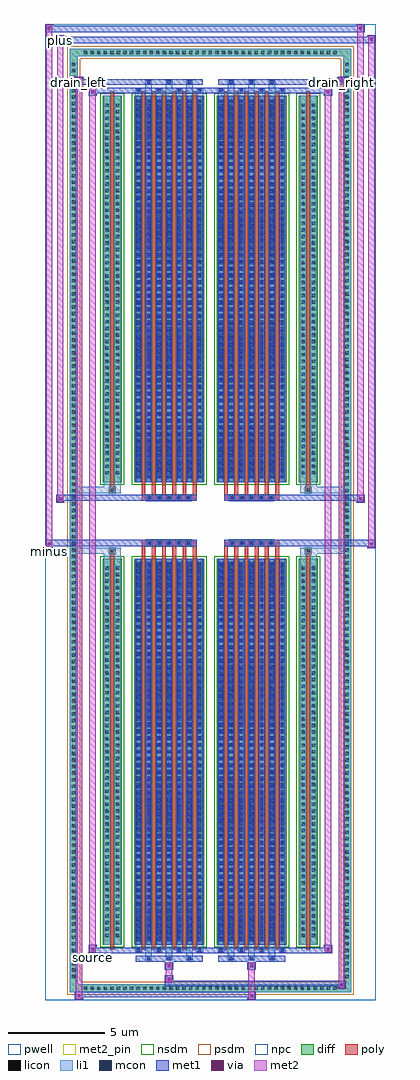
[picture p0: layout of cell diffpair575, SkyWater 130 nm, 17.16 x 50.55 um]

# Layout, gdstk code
import gdstk
lib = gdstk.Library(unit=1e-6, precision=5e-09)
def R(c, l, rs):  # rectangles x0, y0, x1, y1
    for r in rs: c.add(gdstk.rectangle(r[:2], r[2:], *l))
def A(c, l, x, y, w, h, nx, ny, dx, dy):  # array of equal rectangles
    R(c, l, [(x+i*dx, y+j*dy, x+i*dx+w, y+j*dy+h) for i in range(nx) for j in range(ny)])
def P(c, l, *ps):  # polygons
    for p in ps: c.add(gdstk.Polygon(p, *l))
pwell = (64, 44)
diff = (65, 20)
poly = (66, 20)
licon = (66, 44)
li1 = (67, 20)
mcon = (67, 44)
met1 = (68, 20)
via = (68, 44)
met2_pin = (69, 16)
met2 = (69, 20)
nsdm = (93, 44)
psdm = (94, 20)
npc = (95, 20)

diffpair575 = lib.new_cell('diffpair575')
R(diffpair575, pwell, [(-8.56,-24.84,8.56,25.71), (-5.88,-23.03,-0.01,-0.805), (0.01,-23.03,5.88,-0.805), (-5.88,0.805,-0.01,23.03), (0.01,0.805,5.88,23.03)])
A(diffpair575, diff, -6.665, -24.44, 0.41, 0.41, 39, 2, 0.34, 48.47)
A(diffpair575, diff, -7.29, -23.835, 0.41, 0.41, 1, 140, 0, 0.34)
A(diffpair575, diff, 6.88, -23.835, 0.41, 0.41, 1, 140, 0, 0.34)
R(diffpair575, diff, [(-6.665,-24.44,6.665,-24.03), (-7.29,-23.835,-6.88,23.835), (6.88,-23.835,7.29,23.835), (-5.57,-21.985,-4.59,-1.985), (-3.95,-21.985,-0.32,-1.985), (0.32,-21.985,3.95,-1.985), (4.59,-21.985,5.57,-1.985), (-5.57,1.985,-4.59,21.985), (-3.95,1.985,-0.32,21.985), (0.32,1.985,3.95,21.985), (4.59,1.985,5.57,21.985), (-6.665,24.03,6.665,24.44)])
P(diffpair575, diff, [(7.29,24.44),(-7.29,24.44),(-7.29,-24.03),(-6.88,-24.03),(-6.88,24.03),(6.88,24.03),(6.88,-24.03),(-6.88,-24.03),(-7.29,-24.03),(-7.29,-24.44),(7.29,-24.44)])
A(diffpair575, poly, -3.56, -22.235, 0.2, 20.5, 6, 2, 0.53, 23.97)
A(diffpair575, poly, 0.71, -22.235, 0.2, 20.5, 6, 2, 0.53, 23.97)
A(diffpair575, poly, -3.56, -1.735, 0.2, 0.4, 6, 2, 0.53, 3.07)
A(diffpair575, poly, 0.71, -1.735, 0.2, 0.4, 6, 2, 0.53, 3.07)
A(diffpair575, poly, -3.3, -1.335, 0.33, 0.33, 5, 2, 0.5, 2.34)
A(diffpair575, poly, 0.97, -1.335, 0.33, 0.33, 5, 2, 0.5, 2.34)
R(diffpair575, poly, [(-5.18,-22.235,-4.98,-1.735), (4.98,-22.235,5.18,-1.735), (-5.245,-1.735,-4.915,-1.405), (-5.245,-1.735,-4.915,-1.405), (4.915,-1.735,5.245,-1.405), (4.915,-1.735,5.245,-1.405), (-3.56,-1.335,-0.71,-1.005), (0.71,-1.335,3.56,-1.005), (-3.56,1.005,-0.71,1.335), (0.71,1.005,3.56,1.335), (-5.245,1.405,-4.915,1.735), (-5.245,1.405,-4.915,1.735), (4.915,1.405,5.245,1.735), (4.915,1.405,5.245,1.735), (-5.18,1.735,-4.98,22.235), (4.98,1.735,5.18,22.235)])
A(diffpair575, licon, -6.545, -24.32, 0.17, 0.17, 39, 2, 0.34, 48.47)
A(diffpair575, licon, -7.17, -23.715, 0.17, 0.17, 1, 140, 0, 0.34)
A(diffpair575, licon, 7, -23.715, 0.17, 0.17, 1, 140, 0, 0.34)
A(diffpair575, licon, -5.43, -21.59, 0.17, 0.17, 1, 57, 0, 0.34)
A(diffpair575, licon, -4.9, -21.59, 0.17, 0.17, 1, 57, 0, 0.34)
A(diffpair575, licon, -3.81, -21.59, 0.17, 0.17, 7, 57, 0.53, 0.34)
A(diffpair575, licon, 0.46, -21.59, 0.17, 0.17, 7, 57, 0.53, 0.34)
A(diffpair575, licon, 4.73, -21.59, 0.17, 0.17, 1, 57, 0, 0.34)
A(diffpair575, licon, 5.26, -21.59, 0.17, 0.17, 1, 57, 0, 0.34)
A(diffpair575, licon, -3.22, -1.255, 0.17, 0.17, 5, 2, 0.5, 2.34)
A(diffpair575, licon, 1.05, -1.255, 0.17, 0.17, 5, 2, 0.5, 2.34)
A(diffpair575, licon, -5.43, 2.38, 0.17, 0.17, 1, 57, 0, 0.34)
A(diffpair575, licon, -4.9, 2.38, 0.17, 0.17, 1, 57, 0, 0.34)
A(diffpair575, licon, -3.81, 2.38, 0.17, 0.17, 7, 57, 0.53, 0.34)
A(diffpair575, licon, 0.46, 2.38, 0.17, 0.17, 7, 57, 0.53, 0.34)
A(diffpair575, licon, 4.73, 2.38, 0.17, 0.17, 1, 57, 0, 0.34)
A(diffpair575, licon, 5.26, 2.38, 0.17, 0.17, 1, 57, 0, 0.34)
R(diffpair575, licon, [(-5.165,-1.655,-4.995,-1.485), (4.995,-1.655,5.165,-1.485), (-5.165,1.485,-4.995,1.655), (4.995,1.485,5.165,1.655)])
A(diffpair575, li1, -6.625, -24.4, 0.33, 0.33, 39, 2, 0.34, 48.47)
A(diffpair575, li1, -7.25, -23.795, 0.33, 0.33, 1, 140, 0, 0.34)
A(diffpair575, li1, 6.92, -23.795, 0.33, 0.33, 1, 140, 0, 0.34)
A(diffpair575, li1, -3.36, -22.79, 0.33, 0.805, 3, 2, 1.06, 44.775)
A(diffpair575, li1, -3.28, -22.79, 0.17, 0.17, 3, 2, 1.06, 45.41)
A(diffpair575, li1, 0.91, -22.79, 0.33, 0.805, 3, 2, 1.06, 44.775)
A(diffpair575, li1, 0.99, -22.79, 0.17, 0.17, 3, 2, 1.06, 45.41)
A(diffpair575, li1, -3.89, -22.36, 0.33, 0.375, 4, 2, 1.06, 44.345)
A(diffpair575, li1, -3.81, -22.36, 0.17, 0.17, 4, 2, 1.06, 44.55)
A(diffpair575, li1, 0.38, -22.36, 0.33, 0.375, 4, 2, 1.06, 44.345)
A(diffpair575, li1, 0.46, -22.36, 0.17, 0.17, 4, 2, 1.06, 44.55)
A(diffpair575, li1, -3.89, -21.985, 0.33, 20, 7, 2, 0.53, 23.97)
A(diffpair575, li1, 0.38, -21.985, 0.33, 20, 7, 2, 0.53, 23.97)
A(diffpair575, li1, -3.81, -21.79, 0.17, 0.17, 7, 55, 0.53, 0.36)
A(diffpair575, li1, -3.81, -21.79, 0.17, 19.61, 7, 2, 0.53, 23.97)
A(diffpair575, li1, 0.46, -21.79, 0.17, 0.17, 7, 55, 0.53, 0.36)
A(diffpair575, li1, 0.46, -21.79, 0.17, 19.61, 7, 2, 0.53, 23.97)
A(diffpair575, li1, -5.51, -21.67, 0.33, 0.33, 1, 57, 0, 0.34)
A(diffpair575, li1, -4.98, -21.67, 0.33, 0.33, 1, 57, 0, 0.34)
A(diffpair575, li1, -3.89, -21.67, 0.33, 0.33, 7, 57, 0.53, 0.34)
A(diffpair575, li1, 0.38, -21.67, 0.33, 0.33, 7, 57, 0.53, 0.34)
A(diffpair575, li1, 4.65, -21.67, 0.33, 0.33, 1, 57, 0, 0.34)
A(diffpair575, li1, 5.18, -21.67, 0.33, 0.33, 1, 57, 0, 0.34)
A(diffpair575, li1, -3.3, -1.335, 0.33, 0.33, 5, 2, 0.5, 2.34)
A(diffpair575, li1, 0.97, -1.335, 0.33, 0.33, 5, 2, 0.5, 2.34)
A(diffpair575, li1, -3.81, 2.18, 0.17, 0.17, 7, 55, 0.53, 0.36)
A(diffpair575, li1, 0.46, 2.18, 0.17, 0.17, 7, 55, 0.53, 0.36)
A(diffpair575, li1, -5.51, 2.3, 0.33, 0.33, 1, 57, 0, 0.34)
A(diffpair575, li1, -4.98, 2.3, 0.33, 0.33, 1, 57, 0, 0.34)
A(diffpair575, li1, -3.89, 2.3, 0.33, 0.33, 7, 57, 0.53, 0.34)
A(diffpair575, li1, 0.38, 2.3, 0.33, 0.33, 7, 57, 0.53, 0.34)
A(diffpair575, li1, 4.65, 2.3, 0.33, 0.33, 1, 57, 0, 0.34)
A(diffpair575, li1, 5.18, 2.3, 0.33, 0.33, 1, 57, 0, 0.34)
R(diffpair575, li1, [(-7.29,-24.44,-6.88,-24.03), (-7.29,-24.44,-6.88,-24.03), (-6.88,-24.44,6.88,-24.03), (6.88,-24.44,7.29,-24.03), (6.88,-24.44,7.29,-24.03), (-7.29,-24.03,-6.88,24.03), (6.88,-24.03,7.29,24.03), (-5.51,-21.985,-5.18,-1.985), (-4.98,-21.985,-4.65,-1.985), (4.65,-21.985,4.98,-1.985), (5.18,-21.985,5.51,-1.985), (-5.51,-1.985,-5.18,-1.405), (-4.98,-1.985,-4.65,-1.405), (4.65,-1.985,4.98,-1.405), (5.18,-1.985,5.51,-1.405), (-7.29,-1.735,-5.245,-1.405), (-5.51,-1.735,-5.245,-1.405), (-5.245,-1.735,-4.915,-1.405), (-4.915,-1.735,-4.65,-1.405), (4.65,-1.735,4.915,-1.405), (4.915,-1.735,5.245,-1.405), (4.915,-1.735,7.29,-1.405), (5.245,-1.735,5.51,-1.405), (-7.29,1.405,-5.245,1.735), (-5.51,1.405,-5.245,1.735), (-5.51,1.405,-5.18,1.985), (-5.245,1.405,-4.915,1.735), (-4.98,1.405,-4.65,1.985), (-4.915,1.405,-4.65,1.735), (4.65,1.405,4.915,1.735), (4.65,1.405,4.98,1.985), (4.915,1.405,5.245,1.735), (4.915,1.405,7.29,1.735), (5.18,1.405,5.51,1.985), (5.245,1.405,5.51,1.735), (-5.51,1.985,-5.18,21.985), (-4.98,1.985,-4.65,21.985), (4.65,1.985,4.98,21.985), (5.18,1.985,5.51,21.985), (-7.29,24.03,-6.88,24.44), (-7.29,24.03,-6.88,24.44), (-6.88,24.03,6.88,24.44), (6.88,24.03,7.29,24.44), (6.88,24.03,7.29,24.44)])
A(diffpair575, mcon, -3.28, -22.79, 0.17, 0.17, 3, 2, 1.06, 45.41)
A(diffpair575, mcon, 0.99, -22.79, 0.17, 0.17, 3, 2, 1.06, 45.41)
A(diffpair575, mcon, -3.81, -22.36, 0.17, 0.17, 4, 2, 1.06, 44.55)
A(diffpair575, mcon, 0.46, -22.36, 0.17, 0.17, 4, 2, 1.06, 44.55)
A(diffpair575, mcon, -3.81, -21.79, 0.17, 0.17, 7, 55, 0.53, 0.36)
A(diffpair575, mcon, 0.46, -21.79, 0.17, 0.17, 7, 55, 0.53, 0.36)
A(diffpair575, mcon, -3.22, -1.255, 0.17, 0.17, 5, 2, 0.5, 2.34)
A(diffpair575, mcon, 1.05, -1.255, 0.17, 0.17, 5, 2, 0.5, 2.34)
A(diffpair575, mcon, -3.81, 2.18, 0.17, 0.17, 7, 55, 0.53, 0.36)
A(diffpair575, mcon, 0.46, 2.18, 0.17, 0.17, 7, 55, 0.53, 0.36)
A(diffpair575, met1, -3.34, -22.85, 0.29, 0.29, 3, 2, 1.06, 45.41)
A(diffpair575, met1, 0.93, -22.85, 0.29, 0.29, 3, 2, 1.06, 45.41)
A(diffpair575, met1, -3.87, -22.42, 0.29, 0.29, 4, 2, 1.06, 44.55)
A(diffpair575, met1, 0.4, -22.42, 0.29, 0.29, 4, 2, 1.06, 44.55)
A(diffpair575, met1, -3.87, -21.985, 0.29, 20, 7, 2, 0.53, 23.97)
A(diffpair575, met1, 0.4, -21.985, 0.29, 20, 7, 2, 0.53, 23.97)
A(diffpair575, met1, -3.87, -21.85, 0.29, 0.29, 7, 55, 0.53, 0.36)
A(diffpair575, met1, 0.4, -21.85, 0.29, 0.29, 7, 55, 0.53, 0.36)
A(diffpair575, met1, -3.28, -1.315, 0.29, 0.29, 5, 2, 0.5, 2.34)
A(diffpair575, met1, 0.99, -1.315, 0.29, 0.29, 5, 2, 0.5, 2.34)
A(diffpair575, met1, -3.87, 2.12, 0.29, 0.29, 7, 55, 0.53, 0.36)
A(diffpair575, met1, 0.4, 2.12, 0.29, 0.29, 7, 55, 0.53, 0.36)
R(diffpair575, met1, [(-7.02,-24.84,-6.59,-24.41), (1.92,-24.84,2.35,-24.41), (-7.02,-24.7,2.35,-24.41), (6.59,-24.27,7.02,-23.84), (-2.35,-24.13,7.02,-23.84), (-2.35,-23.99,-1.92,-23.56), (-2.35,-23.28,-1.92,-22.85), (1.92,-23.28,2.35,-22.85), (-3.87,-22.85,-0.4,-22.56), (0.4,-22.85,3.87,-22.56), (-6.31,-22.42,-5.88,-21.99), (-6.31,-22.42,-3.87,-22.13), (-3.87,-22.42,-0.4,-22.13), (-0.4,-22.42,0.4,-22.13), (0.4,-22.42,3.87,-22.13), (3.87,-22.42,6.31,-22.13), (5.88,-22.42,6.31,-21.99), (-8.56,-1.435,-8.13,-1.005), (8.13,-1.435,8.56,-1.005), (-8.56,-1.335,-0.71,-1.005), (-3.56,-1.335,-0.71,-1.005), (0.71,-1.335,3.56,-1.005), (0.71,-1.335,8.56,-1.005), (-7.99,0.905,-7.56,1.335), (7.56,0.905,7.99,1.335), (-7.99,1.005,-3.56,1.335), (-3.56,1.005,-0.71,1.335), (0.71,1.005,3.56,1.335), (3.56,1.005,7.99,1.335), (-6.31,21.99,-5.88,22.42), (5.88,21.99,6.31,22.42), (-6.31,22.13,-3.87,22.42), (-3.87,22.13,-0.4,22.42), (-0.4,22.13,0.4,22.42), (0.4,22.13,3.87,22.42), (3.87,22.13,6.31,22.42), (-7.02,22.56,-6.59,22.99), (-7.02,22.56,-3.87,22.85), (-3.87,22.56,-0.4,22.85), (0.4,22.56,3.87,22.85), (3.87,22.56,7.02,22.85), (6.59,22.56,7.02,22.99), (-7.99,24.71,-7.56,25.14), (-7.99,24.71,-5.88,25.04), (-5.88,24.71,5.88,25.04), (5.88,24.71,8.56,25.04), (8.13,24.71,8.56,25.14), (-8.56,25.28,-8.13,25.71), (-8.56,25.28,-5.88,25.61), (-5.88,25.28,5.88,25.61), (5.88,25.28,7.99,25.61), (7.56,25.28,7.99,25.71)])
R(diffpair575, via, [(-6.88,-24.7,-6.73,-24.55), (2.06,-24.7,2.21,-24.55), (6.73,-24.13,6.88,-23.98), (-2.21,-23.85,-2.06,-23.7), (-2.21,-23.14,-2.06,-22.99), (2.06,-23.14,2.21,-22.99), (-6.17,-22.28,-6.02,-22.13), (6.02,-22.28,6.17,-22.13), (-8.42,-1.295,-8.27,-1.145), (8.27,-1.295,8.42,-1.145), (-7.85,1.045,-7.7,1.195), (7.7,1.045,7.85,1.195), (-6.17,22.13,-6.02,22.28), (6.02,22.13,6.17,22.28), (-6.88,22.7,-6.73,22.85), (6.73,22.7,6.88,22.85), (-7.85,24.85,-7.7,25), (8.27,24.85,8.42,25), (-8.42,25.42,-8.27,25.57), (7.7,25.42,7.85,25.57)])
R(diffpair575, met2_pin, [(-6.345,-22.87,-5.845,-22.37), (-8.595,-1.885,-8.095,-1.385), (-7.055,22.44,-6.555,22.94), (6.555,22.44,7.055,22.94), (-8.025,24.59,-7.525,25.09)])
R(diffpair575, met2, [(-6.97,-24.79,-6.64,-24.46), (-6.97,-24.79,-6.64,22.94), (1.97,-24.79,2.3,-24.46), (1.97,-24.46,2.3,-23.23), (6.64,-24.22,6.97,-23.89), (6.64,-24.22,6.97,22.94), (-2.3,-23.94,-1.97,-23.61), (-2.3,-23.61,-1.97,-23.23), (-2.3,-23.23,-1.97,-22.9), (1.97,-23.23,2.3,-22.9), (-6.26,-22.37,-5.93,-22.04), (-6.26,-22.37,-5.93,22.37), (5.93,-22.37,6.26,-22.04), (5.93,-22.37,6.26,22.37), (-8.51,-1.385,-8.18,-1.055), (-8.51,-1.385,-8.18,25.66), (8.18,-1.385,8.51,-1.055), (8.18,-1.385,8.51,25.09), (-7.94,0.955,-7.61,1.285), (-7.94,0.955,-7.61,25.09), (7.61,0.955,7.94,1.285), (7.61,0.955,7.94,25.66), (-6.26,22.04,-5.93,22.37), (5.93,22.04,6.26,22.37), (-6.97,22.61,-6.64,22.94), (6.64,22.61,6.97,22.94), (-7.94,24.76,-7.61,25.09), (8.18,24.76,8.51,25.09), (-8.51,25.33,-8.18,25.66), (7.61,25.33,7.94,25.66)])
P(diffpair575, met2, [(8.51,-1.385),(8.51,-1.385),(8.51,-1.055),(8.51,-1.055)],
  [(8.51,24.76),(8.51,24.76),(8.51,25.09),(8.51,25.09)],
  [(-8.18,-1.385),(-8.18,-1.385),(-8.18,-1.055),(-8.18,-1.055)],
  [(-8.18,25.33),(-8.18,25.33),(-8.18,25.66),(-8.18,25.66)],
  [(7.94,0.955),(7.94,0.955),(7.94,1.285),(7.94,1.285)],
  [(7.94,25.33),(7.94,25.33),(7.94,25.66),(7.94,25.66)],
  [(-7.61,0.955),(-7.61,0.955),(-7.61,1.285),(-7.61,1.285)],
  [(-7.61,24.76),(-7.61,24.76),(-7.61,25.09),(-7.61,25.09)],
  [(-6.64,-24.79),(-6.64,-24.79),(-6.64,-24.46),(-6.64,-24.46)],
  [(-6.64,22.61),(-6.64,22.61),(-6.64,22.94),(-6.64,22.94)],
  [(6.97,-24.22),(6.97,-24.22),(6.97,-23.89),(6.97,-23.89)],
  [(6.97,22.61),(6.97,22.61),(6.97,22.94),(6.97,22.94)],
  [(-5.93,-22.37),(-5.93,-22.37),(-5.93,-22.04),(-5.93,-22.04)],
  [(-5.93,22.04),(-5.93,22.04),(-5.93,22.37),(-5.93,22.37)],
  [(6.26,-22.37),(6.26,-22.37),(6.26,-22.04),(6.26,-22.04)],
  [(6.26,22.04),(6.26,22.04),(6.26,22.37),(6.26,22.37)])
R(diffpair575, nsdm, [(-5.7,-22.115,-4.46,-1.855), (-4.08,-22.115,-0.19,-1.855), (0.19,-22.115,4.08,-1.855), (4.46,-22.115,5.7,-1.855), (-5.7,1.855,-4.46,22.115), (-4.08,1.855,-0.19,22.115), (0.19,1.855,4.08,22.115), (4.46,1.855,5.7,22.115)])
P(diffpair575, psdm, [(7.42,24.57),(-7.42,24.57),(-7.42,-23.9),(-6.75,-23.9),(-6.75,23.9),(6.75,23.9),(6.75,-23.9),(-6.75,-23.9),(-7.42,-23.9),(-7.42,-24.57),(7.42,-24.57)])
A(diffpair575, npc, -3.32, -1.355, 0.37, 0.37, 5, 2, 0.5, 2.34)
A(diffpair575, npc, 0.95, -1.355, 0.37, 0.37, 5, 2, 0.5, 2.34)
R(diffpair575, npc, [(-5.265,-1.755,-4.895,-1.385), (4.895,-1.755,5.265,-1.385), (-3.32,-1.355,-2.45,-0.985), (-3.32,-1.355,-2.45,-0.985), (-2.82,-1.355,-1.95,-0.985), (-2.82,-1.355,-1.95,-0.985), (-2.32,-1.355,-1.45,-0.985), (-2.32,-1.355,-1.45,-0.985), (-1.82,-1.355,-0.95,-0.985), (-1.82,-1.355,-0.95,-0.985), (0.95,-1.355,1.82,-0.985), (0.95,-1.355,1.82,-0.985), (1.45,-1.355,2.32,-0.985), (1.45,-1.355,2.32,-0.985), (1.95,-1.355,2.82,-0.985), (1.95,-1.355,2.82,-0.985), (2.45,-1.355,3.32,-0.985), (2.45,-1.355,3.32,-0.985), (-3.32,0.985,-2.45,1.355), (-3.32,0.985,-2.45,1.355), (-2.82,0.985,-1.95,1.355), (-2.82,0.985,-1.95,1.355), (-2.32,0.985,-1.45,1.355), (-2.32,0.985,-1.45,1.355), (-1.82,0.985,-0.95,1.355), (-1.82,0.985,-0.95,1.355), (0.95,0.985,1.82,1.355), (0.95,0.985,1.82,1.355), (1.45,0.985,2.32,1.355), (1.45,0.985,2.32,1.355), (1.95,0.985,2.82,1.355), (1.95,0.985,2.82,1.355), (2.45,0.985,3.32,1.355), (2.45,0.985,3.32,1.355), (-5.265,1.385,-4.895,1.755), (4.895,1.385,5.265,1.755)])
diffpair575.add(gdstk.Label('minus', (-8.345,-1.635), layer=69, texttype=5))
diffpair575.add(gdstk.Label('drain_right', (6.805,22.69), layer=69, texttype=5))
diffpair575.add(gdstk.Label('drain_left', (-6.805,22.69), layer=69, texttype=5))
diffpair575.add(gdstk.Label('source', (-6.095,-22.62), layer=69, texttype=5))
diffpair575.add(gdstk.Label('plus', (-7.775,24.84), layer=69, texttype=5))

lib.write_gds('diffpair575.gds')
